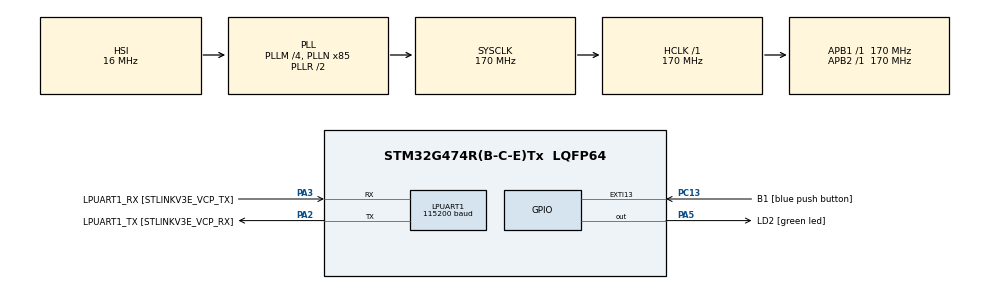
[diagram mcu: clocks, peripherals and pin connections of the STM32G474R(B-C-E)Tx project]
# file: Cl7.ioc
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Dma.LPUART1_RX.0.Direction=DMA_PERIPH_TO_MEMORY
Dma.LPUART1_RX.0.EventEnable=DISABLE
Dma.LPUART1_RX.0.Instance=DMA1_Channel1
Dma.LPUART1_RX.0.MemDataAlignment=DMA_MDATAALIGN_BYTE
Dma.LPUART1_RX.0.MemInc=DMA_MINC_ENABLE
Dma.LPUART1_RX.0.Mode=DMA_NORMAL
Dma.LPUART1_RX.0.PeriphDataAlignment=DMA_PDATAALIGN_BYTE
Dma.LPUART1_RX.0.PeriphInc=DMA_PINC_DISABLE
Dma.LPUART1_RX.0.Polarity=HAL_DMAMUX_REQ_GEN_RISING
Dma.LPUART1_RX.0.Priority=DMA_PRIORITY_LOW
Dma.LPUART1_RX.0.RequestNumber=1
Dma.LPUART1_RX.0.SignalID=NONE
Dma.LPUART1_RX.0.SyncEnable=DISABLE
Dma.LPUART1_RX.0.SyncPolarity=HAL_DMAMUX_SYNC_NO_EVENT
Dma.LPUART1_RX.0.SyncRequestNumber=1
Dma.LPUART1_RX.0.SyncSignalID=NONE
Dma.LPUART1_TX.1.Direction=DMA_MEMORY_TO_PERIPH
Dma.LPUART1_TX.1.EventEnable=DISABLE
Dma.LPUART1_TX.1.Instance=DMA1_Channel2
Dma.LPUART1_TX.1.MemDataAlignment=DMA_MDATAALIGN_BYTE
Dma.LPUART1_TX.1.MemInc=DMA_MINC_ENABLE
Dma.LPUART1_TX.1.Mode=DMA_NORMAL
Dma.LPUART1_TX.1.PeriphDataAlignment=DMA_PDATAALIGN_BYTE
Dma.LPUART1_TX.1.PeriphInc=DMA_PINC_DISABLE
Dma.LPUART1_TX.1.Polarity=HAL_DMAMUX_REQ_GEN_RISING
Dma.LPUART1_TX.1.Priority=DMA_PRIORITY_LOW
Dma.LPUART1_TX.1.RequestNumber=1
Dma.LPUART1_TX.1.SignalID=NONE
Dma.LPUART1_TX.1.SyncEnable=DISABLE
Dma.LPUART1_TX.1.SyncPolarity=HAL_DMAMUX_SYNC_NO_EVENT
Dma.LPUART1_TX.1.SyncRequestNumber=1
Dma.LPUART1_TX.1.SyncSignalID=NONE
Dma.Request0=LPUART1_RX
Dma.Request1=LPUART1_TX
LPUART1.BaudRate=115200
LPUART1.WordLength=UART_WORDLENGTH_8B
Mcu.Family=STM32G4
Mcu.Name=STM32G474R(B-C-E)Tx
Mcu.Package=LQFP64
NVIC.DMA1_Channel1_IRQn=true\:0\:0\:false\:false\:true\:false\:true\:true
NVIC.DMA1_Channel2_IRQn=true\:0\:0\:false\:false\:true\:false\:true\:true
NVIC.EXTI15_10_IRQn=true\:0\:0\:false\:false\:true\:true\:true\:true
NVIC.LPUART1_IRQn=true\:0\:0\:false\:false\:true\:true\:true\:true
NVIC.PriorityGroup=NVIC_PRIORITYGROUP_4
PA13.GPIO_Label=T_SWDIO
PA13.Mode=Serial_Wire
PA13.Signal=SYS_JTMS-SWDIO
PA14.GPIO_Label=T_SWCLK
PA14.Mode=Serial_Wire
PA14.Signal=SYS_JTCK-SWCLK
PA2.GPIO_Label=LPUART1_TX [STLINKV3E_VCP_RX]
PA2.Mode=Asynchronous
PA2.Signal=LPUART1_TX
PA3.GPIO_Label=LPUART1_RX [STLINKV3E_VCP_TX]
PA3.Mode=Asynchronous
PA3.Signal=LPUART1_RX
PA5.GPIO_Label=LD2 [green led]
PA5.Signal=GPIO_Output
PB3.GPIO_Label=T_SWO
PB3.Signal=SYS_JTDO-SWO
PC13.GPIO_Label=B1 [blue push button]
PC13.Signal=GPXTI13
PC14-OSC32_IN.Mode=LSE-External-Oscillator
PC14-OSC32_IN.Signal=RCC_OSC32_IN
PC15-OSC32_OUT.Mode=LSE-External-Oscillator
PC15-OSC32_OUT.Signal=RCC_OSC32_OUT
PF0-OSC_IN.Mode=HSE-External-Oscillator
PF0-OSC_IN.Signal=RCC_OSC_IN
PF1-OSC_OUT.Mode=HSE-External-Oscillator
PF1-OSC_OUT.Signal=RCC_OSC_OUT
ProjectManager.HeapSize=0x200
ProjectManager.StackSize=0x400
ProjectManager.TargetToolchain=STM32CubeIDE
RCC.ADC12Freq_Value=170000000
RCC.ADC345Freq_Value=170000000
RCC.AHBFreq_Value=170000000
RCC.APB1Freq_Value=170000000
RCC.APB1TimFreq_Value=170000000
RCC.APB2Freq_Value=170000000
RCC.APB2TimFreq_Value=170000000
RCC.CortexFreq_Value=170000000
RCC.EXTERNAL_CLOCK_VALUE=12288000
RCC.HCLKFreq_Value=170000000
RCC.HSE_VALUE=24000000
RCC.HSI48_VALUE=48000000
RCC.HSI_VALUE=16000000
RCC.PLLM=RCC_PLLM_DIV4
RCC.PLLN=85
RCC.RTCClockSelection=RCC_RTCCLKSOURCE_LSE
RCC.SYSCLKFreq_VALUE=170000000
RCC.SYSCLKSource=RCC_SYSCLKSOURCE_PLLCLK
RCC.USBFreq_Value=170000000
RCC.VCOOutputFreq_Value=340000000
VP_SYS_VS_DBSignals.Mode=DisableDeadBatterySignals
board=NUCLEO-G474RE

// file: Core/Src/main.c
/* USER CODE BEGIN Header */
/**
  ******************************************************************************
  * @file           : main.c
  * @brief          : Main program body
  ******************************************************************************
  * @attention
  *
  * Copyright (c) 2024 STMicroelectronics.
  * All rights reserved.
  *
  * This software is licensed under terms that can be found in the LICENSE file
  * in the root directory of this software component.
  * If no LICENSE file comes with this software, it is provided AS-IS.
  *
  ******************************************************************************
  */
/* USER CODE END Header */
#include "main.h"

/* USER CODE BEGIN Includes */
#include "stdio.h"
#include "string.h"

/* USER CODE END Includes */

UART_HandleTypeDef hlpuart1;
DMA_HandleTypeDef hdma_lpuart1_rx;
DMA_HandleTypeDef hdma_lpuart1_tx;

/* USER CODE BEGIN PV */
uint8_t RxBuffer[20];
uint8_t TxBuffer[40];

/* USER CODE END PV */

void SystemClock_Config(void);
static void MX_GPIO_Init(void);
static void MX_DMA_Init(void);
static void MX_LPUART1_UART_Init(void);
/* USER CODE BEGIN PFP */
void UARTPollingMethod();
void DummyTask();
void UARTInterruptConfig();
void UARTDMAConfig();

/* USER CODE END PFP */

int main(void)
{

  /* MCU Configuration--------------------------------------------------------*/

  /* Reset of all peripherals, Initializes the Flash interface and the Systick. */
  HAL_Init();

  /* Configure the system clock */
  SystemClock_Config();

  /* Initialize all configured peripherals */
  MX_GPIO_Init();
  MX_DMA_Init();
  MX_LPUART1_UART_Init();
  /* USER CODE BEGIN 2 */
  uint8_t text[] = "HELLO FIBO";
  HAL_UART_Transmit(&hlpuart1, text, 11, 10);

  //UARTInterruptConfig();
  UARTDMAConfig();
  /* USER CODE END 2 */

  /* Infinite loop */
  /* USER CODE BEGIN WHILE */
  while (1)
  {
	  //UARTPollingMethod();
	  DummyTask();
    /* USER CODE END WHILE */

  }
}

void SystemClock_Config(void)
{
  RCC_OscInitTypeDef RCC_OscInitStruct = {0};
  RCC_ClkInitTypeDef RCC_ClkInitStruct = {0};

  /** Configure the main internal regulator output voltage
  */
  HAL_PWREx_ControlVoltageScaling(PWR_REGULATOR_VOLTAGE_SCALE1_BOOST);

  /** Initializes the RCC Oscillators according to the specified parameters
  * in the RCC_OscInitTypeDef structure.
  */
  RCC_OscInitStruct.OscillatorType = RCC_OSCILLATORTYPE_HSI;
  RCC_OscInitStruct.HSIState = RCC_HSI_ON;
  RCC_OscInitStruct.HSICalibrationValue = RCC_HSICALIBRATION_DEFAULT;
  RCC_OscInitStruct.PLL.PLLState = RCC_PLL_ON;
  RCC_OscInitStruct.PLL.PLLSource = RCC_PLLSOURCE_HSI;
  RCC_OscInitStruct.PLL.PLLM = RCC_PLLM_DIV4;
  RCC_OscInitStruct.PLL.PLLN = 85;
  RCC_OscInitStruct.PLL.PLLP = RCC_PLLP_DIV2;
  RCC_OscInitStruct.PLL.PLLQ = RCC_PLLQ_DIV2;
  RCC_OscInitStruct.PLL.PLLR = RCC_PLLR_DIV2;
  if (HAL_RCC_OscConfig(&RCC_OscInitStruct) != HAL_OK)
  {
    Error_Handler();
  }

  /** Initializes the CPU, AHB and APB buses clocks
  */
  RCC_ClkInitStruct.ClockType = RCC_CLOCKTYPE_HCLK|RCC_CLOCKTYPE_SYSCLK
                              |RCC_CLOCKTYPE_PCLK1|RCC_CLOCKTYPE_PCLK2;
  RCC_ClkInitStruct.SYSCLKSource = RCC_SYSCLKSOURCE_PLLCLK;
  RCC_ClkInitStruct.AHBCLKDivider = RCC_SYSCLK_DIV1;
  RCC_ClkInitStruct.APB1CLKDivider = RCC_HCLK_DIV1;
  RCC_ClkInitStruct.APB2CLKDivider = RCC_HCLK_DIV1;

  if (HAL_RCC_ClockConfig(&RCC_ClkInitStruct, FLASH_LATENCY_4) != HAL_OK)
  {
    Error_Handler();
  }
}

static void MX_LPUART1_UART_Init(void)
{

  hlpuart1.Instance = LPUART1;
  hlpuart1.Init.BaudRate = 115200;
  hlpuart1.Init.WordLength = UART_WORDLENGTH_8B;
  hlpuart1.Init.StopBits = UART_STOPBITS_1;
  hlpuart1.Init.Parity = UART_PARITY_NONE;
  hlpuart1.Init.Mode = UART_MODE_TX_RX;
  hlpuart1.Init.HwFlowCtl = UART_HWCONTROL_NONE;
  hlpuart1.Init.OneBitSampling = UART_ONE_BIT_SAMPLE_DISABLE;
  hlpuart1.Init.ClockPrescaler = UART_PRESCALER_DIV1;
  hlpuart1.AdvancedInit.AdvFeatureInit = UART_ADVFEATURE_NO_INIT;
  if (HAL_UART_Init(&hlpuart1) != HAL_OK)
  {
    Error_Handler();
  }
  if (HAL_UARTEx_SetTxFifoThreshold(&hlpuart1, UART_TXFIFO_THRESHOLD_1_8) != HAL_OK)
  {
    Error_Handler();
  }
  if (HAL_UARTEx_SetRxFifoThreshold(&hlpuart1, UART_RXFIFO_THRESHOLD_1_8) != HAL_OK)
  {
    Error_Handler();
  }
  if (HAL_UARTEx_DisableFifoMode(&hlpuart1) != HAL_OK)
  {
    Error_Handler();
  }

}

static void MX_DMA_Init(void)
{

  /* DMA controller clock enable */
  __HAL_RCC_DMAMUX1_CLK_ENABLE();
  __HAL_RCC_DMA1_CLK_ENABLE();

  /* DMA interrupt init */
  /* DMA1_Channel1_IRQn interrupt configuration */
  HAL_NVIC_SetPriority(DMA1_Channel1_IRQn, 0, 0);
  HAL_NVIC_EnableIRQ(DMA1_Channel1_IRQn);
  /* DMA1_Channel2_IRQn interrupt configuration */
  HAL_NVIC_SetPriority(DMA1_Channel2_IRQn, 0, 0);
  HAL_NVIC_EnableIRQ(DMA1_Channel2_IRQn);

}

static void MX_GPIO_Init(void)
{
  GPIO_InitTypeDef GPIO_InitStruct = {0};

  /* GPIO Ports Clock Enable */
  __HAL_RCC_GPIOC_CLK_ENABLE();
  __HAL_RCC_GPIOF_CLK_ENABLE();
  __HAL_RCC_GPIOA_CLK_ENABLE();
  __HAL_RCC_GPIOB_CLK_ENABLE();

  /*Configure GPIO pin Output Level */
  HAL_GPIO_WritePin(LD2_GPIO_Port, LD2_Pin, GPIO_PIN_RESET);

  /*Configure GPIO pin : B1_Pin */
  GPIO_InitStruct.Pin = B1_Pin;
  GPIO_InitStruct.Mode = GPIO_MODE_IT_RISING;
  GPIO_InitStruct.Pull = GPIO_NOPULL;
  HAL_GPIO_Init(B1_GPIO_Port, &GPIO_InitStruct);

  /*Configure GPIO pin : LD2_Pin */
  GPIO_InitStruct.Pin = LD2_Pin;
  GPIO_InitStruct.Mode = GPIO_MODE_OUTPUT_PP;
  GPIO_InitStruct.Pull = GPIO_NOPULL;
  GPIO_InitStruct.Speed = GPIO_SPEED_FREQ_LOW;
  HAL_GPIO_Init(LD2_GPIO_Port, &GPIO_InitStruct);

  /* EXTI interrupt init*/
  HAL_NVIC_SetPriority(EXTI15_10_IRQn, 0, 0);
  HAL_NVIC_EnableIRQ(EXTI15_10_IRQn);

}

/* USER CODE BEGIN 4 */
void UARTPollingMethod()
{
	//read UART 10 char with in 10s
	HAL_StatusTypeDef HAL_status = HAL_UART_Receive(&hlpuart1, RxBuffer, 10, 1000);

	//if complete read 10 char
	if(HAL_status == HAL_OK)
	{
		//(for string only) Add string stop symbol \0 to end string
		RxBuffer[10] = '\0';

		//return received char
		sprintf((char*)TxBuffer,"Received : %s\r\n",RxBuffer);
		HAL_UART_Transmit(&hlpuart1, TxBuffer, strlen((char*)TxBuffer), 10);
	}
	//Timeout : print only received char
	else if(HAL_status == HAL_TIMEOUT)
	{
		//(for string only) Add string stop symbol \0 to end string
		uint32_t lastCharPos = hlpuart1.RxXferSize - hlpuart1.RxXferCount;
		RxBuffer[lastCharPos] = '\0';

		//return received char
		sprintf((char*)TxBuffer,"Received Timeout : %s\r\n",RxBuffer);
		HAL_UART_Transmit(&hlpuart1, TxBuffer, strlen((char*)TxBuffer), 10);
	}
}

void DummyTask()
{
	static uint32_t timestamp = 0;
	if(HAL_GetTick()>=timestamp)
	{
		timestamp = HAL_GetTick()+100;
		HAL_GPIO_TogglePin(LD2_GPIO_Port, LD2_Pin);
	}
}

void UARTInterruptConfig()
{
	//start UART in Interrupt Mode
	HAL_UART_Receive_IT(&hlpuart1, RxBuffer, 10);
}

void UARTDMAConfig()
{
	//start UART in DMA Mode
	HAL_UART_Receive_DMA(&hlpuart1, RxBuffer, 10);
}

void HAL_UART_RxCpltCallback(UART_HandleTypeDef *huart)
{
	if(huart == &hlpuart1)
	{
		//(for string only) Add string stop symbol \0 to end string
		RxBuffer[10] = '\0';

		//return received char
		sprintf((char*)TxBuffer,"Received : %s\r\n",RxBuffer);
		//HAL_UART_Transmit_IT(&hlpuart1, TxBuffer, strlen((char*)TxBuffer));
		HAL_UART_Transmit_DMA(&hlpuart1, TxBuffer, strlen((char*)TxBuffer));

		//recall Receive
		//HAL_UART_Receive_IT(&hlpuart1, RxBuffer, 10);
	}
}

/* USER CODE END 4 */

void Error_Handler(void)
{
  __disable_irq();
  while (1)
  {
  }
}
